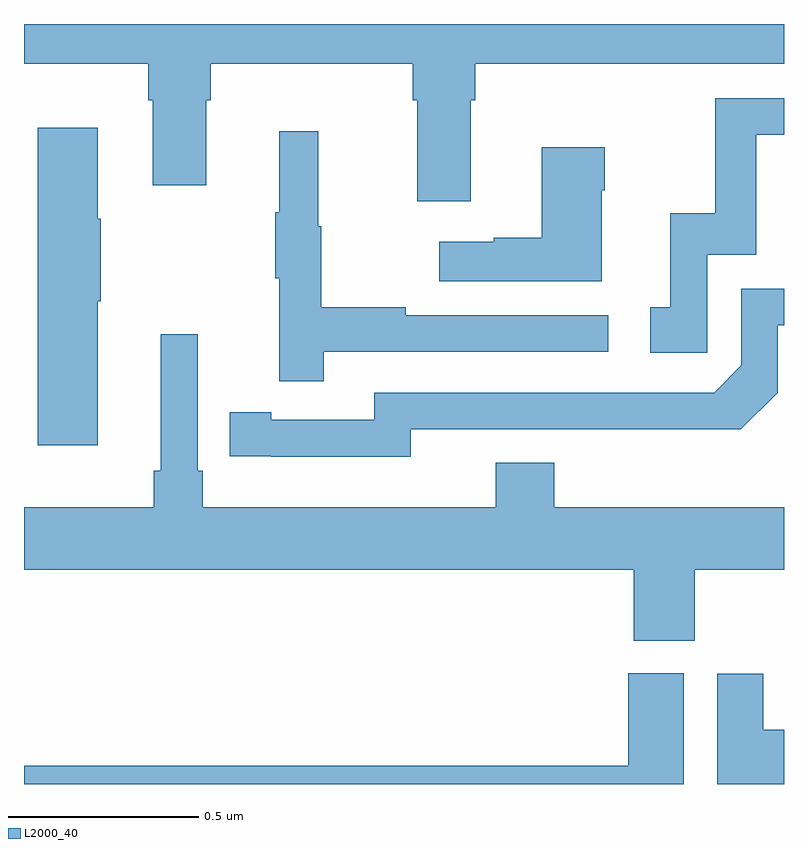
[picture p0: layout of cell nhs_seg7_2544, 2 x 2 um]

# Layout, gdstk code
import gdstk
lib = gdstk.Library(unit=1e-6, precision=1e-09)
def P(c, l, *ps):  # polygons
    for p in ps: c.add(gdstk.Polygon(p, *l))
L2000_40 = (2000, 40)

nhs_seg7_2544 = lib.new_cell('nhs_seg7_2544')
P(nhs_seg7_2544, L2000_40, [(147.175,1053.8),(147.188,1053.8),(147.188,1053.896),(148,1053.896),(148,1054),(146,1054),(146,1053.896),(146.327,1053.896),(146.327,1053.8),(146.339,1053.8),(146.339,1053.576),(146.479,1053.576),(146.479,1053.8),(146.492,1053.8),(146.492,1053.896),(147.023,1053.896),(147.023,1053.8),(147.035,1053.8),(147.035,1053.534),(147.175,1053.534)],
  [(147.798,1053.393),(147.927,1053.393),(147.927,1053.708),(148,1053.708),(148,1053.804),(147.819,1053.804),(147.819,1053.502),(147.701,1053.502),(147.701,1053.255),(147.648,1053.255),(147.648,1053.135),(147.798,1053.135)],
  [(146.194,1053.271),(146.202,1053.271),(146.202,1053.488),(146.194,1053.488),(146.194,1053.727),(146.036,1053.727),(146.036,1052.892),(146.194,1052.892)],
  [(146.789,1053.138),(147.538,1053.138),(147.538,1053.234),(147.005,1053.234),(147.005,1053.254),(146.782,1053.254),(146.782,1053.468),(146.774,1053.468),(146.774,1053.718),(146.672,1053.718),(146.672,1053.505),(146.661,1053.505),(146.661,1053.331),(146.672,1053.331),(146.672,1053.06),(146.789,1053.06)],
  [(147.52,1053.563),(147.528,1053.563),(147.528,1053.676),(147.362,1053.676),(147.362,1053.437),(147.236,1053.437),(147.236,1053.427),(147.093,1053.427),(147.093,1053.323),(147.52,1053.323)],
  [(147.018,1052.934),(147.478,1052.934),(147.478,1052.933),(147.886,1052.933),(147.984,1053.03),(147.984,1053.207),(148,1053.207),(148,1053.303),(147.888,1053.303),(147.888,1053.102),(147.816,1053.03),(146.922,1053.03),(146.922,1052.958),(146.65,1052.958),(146.65,1052.978),(146.542,1052.978),(146.542,1052.862),(146.65,1052.862),(146.65,1052.861),(147.018,1052.861)],
  [(147.765,1052.564),(148,1052.564),(148,1052.728),(147.395,1052.728),(147.395,1052.845),(147.242,1052.845),(147.242,1052.728),(146.471,1052.728),(146.471,1052.824),(146.457,1052.824),(146.457,1053.184),(146.36,1053.184),(146.36,1052.824),(146.341,1052.824),(146.341,1052.728),(146,1052.728),(146,1052.564),(147.605,1052.564),(147.605,1052.377),(147.765,1052.377)],
  [(147.736,1052.292),(147.59,1052.292),(147.59,1052.048),(146,1052.048),(146,1052),(147.736,1052)],
  [(148,1052.143),(147.946,1052.143),(147.946,1052.29),(147.824,1052.29),(147.824,1052),(148,1052)])

lib.write_gds('nhs_seg7_2544.gds')
